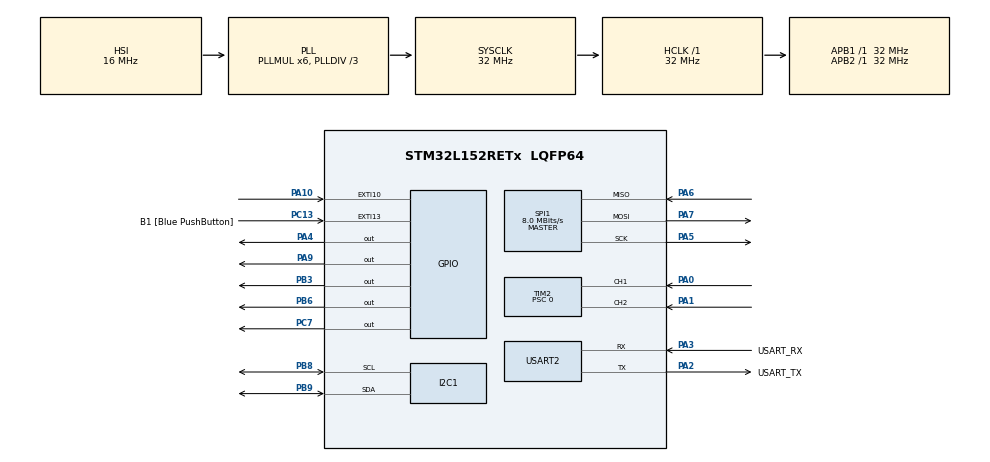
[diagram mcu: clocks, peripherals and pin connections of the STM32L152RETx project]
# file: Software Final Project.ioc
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Dma.Request0=SPI1_TX
Dma.SPI1_TX.0.Direction=DMA_MEMORY_TO_PERIPH
Dma.SPI1_TX.0.Instance=DMA1_Channel3
Dma.SPI1_TX.0.MemDataAlignment=DMA_MDATAALIGN_BYTE
Dma.SPI1_TX.0.MemInc=DMA_MINC_ENABLE
Dma.SPI1_TX.0.Mode=DMA_NORMAL
Dma.SPI1_TX.0.PeriphDataAlignment=DMA_PDATAALIGN_BYTE
Dma.SPI1_TX.0.PeriphInc=DMA_PINC_DISABLE
Dma.SPI1_TX.0.Priority=DMA_PRIORITY_HIGH
Mcu.Family=STM32L1
Mcu.Name=STM32L152RETx
Mcu.Package=LQFP64
NVIC.DMA1_Channel3_IRQn=true\:0\:0\:false\:false\:true\:false\:true\:true
NVIC.EXTI15_10_IRQn=true\:0\:0\:false\:false\:true\:true\:true\:true
NVIC.PriorityGroup=NVIC_PRIORITYGROUP_0
PA0-WKUP1.Signal=S_TIM2_CH1_ETR
PA1.Signal=S_TIM2_CH2
PA10.GPIO_ModeDefaultEXTI=GPIO_MODE_IT_FALLING
PA10.GPIO_PuPd=GPIO_PULLUP
PA10.Signal=GPXTI10
PA13.GPIO_Label=TMS
PA13.Mode=Serial_Wire
PA13.Signal=SYS_JTMS-SWDIO
PA14.GPIO_Label=TCK
PA14.Mode=Serial_Wire
PA14.Signal=SYS_JTCK-SWCLK
PA2.GPIO_Label=USART_TX
PA2.Mode=Asynchronous
PA2.Signal=USART2_TX
PA3.GPIO_Label=USART_RX
PA3.Mode=Asynchronous
PA3.Signal=USART2_RX
PA4.GPIO_Speed=GPIO_SPEED_FREQ_VERY_HIGH
PA4.Signal=GPIO_Output
PA5.Mode=Full_Duplex_Master
PA5.Signal=SPI1_SCK
PA6.Mode=Full_Duplex_Master
PA6.Signal=SPI1_MISO
PA7.Mode=Full_Duplex_Master
PA7.Signal=SPI1_MOSI
PA9.GPIO_Speed=GPIO_SPEED_FREQ_VERY_HIGH
PA9.Signal=GPIO_Output
PB3.Signal=GPIO_Output
PB6.GPIO_Speed=GPIO_SPEED_FREQ_VERY_HIGH
PB6.Signal=GPIO_Output
PB8.Mode=I2C
PB8.Signal=I2C1_SCL
PB9.Mode=I2C
PB9.Signal=I2C1_SDA
PC13-WKUP2.GPIO_Label=B1 [Blue PushButton]
PC13-WKUP2.Signal=GPXTI13
PC14-OSC32_IN.Mode=LSE-External-Oscillator
PC14-OSC32_IN.Signal=RCC_OSC32_IN
PC15-OSC32_OUT.Mode=LSE-External-Oscillator
PC15-OSC32_OUT.Signal=RCC_OSC32_OUT
PC7.GPIO_Speed=GPIO_SPEED_FREQ_VERY_HIGH
PC7.Signal=GPIO_Output
PH0-OSC_IN.Mode=HSE-External-Clock-Source
PH0-OSC_IN.Signal=RCC_OSC_IN
PH1-OSC_OUT.Signal=RCC_OSC_OUT
ProjectManager.HeapSize=0x200
ProjectManager.StackSize=0x400
ProjectManager.TargetToolchain=STM32CubeIDE
RCC.48MHZClocksFreq_Value=48000000
RCC.AHBFreq_Value=32000000
RCC.APB1Freq_Value=32000000
RCC.APB1TimFreq_Value=32000000
RCC.APB2Freq_Value=32000000
RCC.APB2TimFreq_Value=32000000
RCC.HCLKFreq_Value=32000000
RCC.HSE_VALUE=8000000
RCC.HSI_VALUE=16000000
RCC.MSI_VALUE=2097000
RCC.PLLDIV=RCC_PLL_DIV3
RCC.PLLMUL=RCC_PLL_MUL6
RCC.RTCClockSelectionVirtual=RCC_RTCCLKSOURCE_LSE
RCC.SYSCLKFreq_VALUE=32000000
RCC.SYSCLKSource=RCC_SYSCLKSOURCE_PLLCLK
RCC.USBOutput=48000000
RCC.VCOOutputFreq_Value=96000000
SH.S_TIM2_CH1_ETR.0=TIM2_CH1,Encoder_Interface
SH.S_TIM2_CH2.0=TIM2_CH2,Encoder_Interface
SPI1.BaudRatePrescaler=SPI_BAUDRATEPRESCALER_4
SPI1.CalculateBaudRate=8.0 MBits/s
SPI1.DataSize=SPI_DATASIZE_8BIT
SPI1.Direction=SPI_DIRECTION_2LINES
SPI1.Mode=SPI_MODE_MASTER
SPI1.VirtualType=VM_MASTER
TIM2.AutoReloadPreload=TIM_AUTORELOAD_PRELOAD_DISABLE
TIM2.EncoderMode=TIM_ENCODERMODE_TI12
TIM2.IC1Filter=4
TIM2.IC2Filter=4
TIM2.Period=19999
TIM2.Prescaler=0
USART2.VirtualMode=VM_ASYNC
board=NUCLEO-L152RE

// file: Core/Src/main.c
/* USER CODE BEGIN Header */
/**
  ******************************************************************************
  * @file           : main.c
  * @brief          : Main program body
  ******************************************************************************
  */
/* USER CODE END Header */
#include "main.h"

/* USER CODE BEGIN Includes */
#include "GFX.h"
#include "screen.h"
#include "TSC2007.h"
#include "encoder.h"
/* USER CODE END Includes */

I2C_HandleTypeDef hi2c1;

SPI_HandleTypeDef hspi1;
DMA_HandleTypeDef hdma_spi1_tx;

TIM_HandleTypeDef htim2;

UART_HandleTypeDef huart2;

void SystemClock_Config(void);
static void MX_GPIO_Init(void);
static void MX_DMA_Init(void);
static void MX_I2C1_Init(void);
static void MX_SPI1_Init(void);
static void MX_USART2_UART_Init(void);
static void MX_TIM2_Init(void);

/* USER CODE BEGIN 0 */
//uint16_t x;
//uint16_t y;
//uint16_t z1;
//uint16_t z2;
/* USER CODE END 0 */

int main(void)
{

  /* MCU Configuration--------------------------------------------------------*/

  /* Reset of all peripherals, Initializes the Flash interface and the Systick. */
  HAL_Init();

  /* Configure the system clock */
  SystemClock_Config();

  /* Initialize all configured peripherals */
  MX_GPIO_Init();
  MX_DMA_Init();
  MX_I2C1_Init();
  MX_SPI1_Init();
  MX_USART2_UART_Init();
  MX_TIM2_Init();
  /* USER CODE BEGIN 2 */
  TSC2007_Init();

  HAL_TIM_Encoder_Start(&htim2, TIM_CHANNEL_ALL);

  GFX_t display;
  GFX_Init(&display);

  Screen currPage = HOME_SCREEN;
  Frame currFrame = FIRST_FRAME;

  DrawScreen(&display, currPage, currFrame);

  /* USER CODE END 2 */

  /* Infinite loop */
  while (1)
  {

    /* USER CODE BEGIN 3 */
    if (TSC2007_IsTouched()) {
    	TSC2007_Point_t point = TSC2007_GetPoint();
    	CheckScreenPress(&display, &currPage, point, currFrame);
    }

    if (currPage == VISUALIZATION_SCREEN) {
    	DrawFrame(&display, currFrame);
//    	HAL_Delay(50);
    }

    // Read encoder
    measureEncoder(&currFrame);

  }
  /* USER CODE END 3 */
}

void SystemClock_Config(void)
{
  RCC_OscInitTypeDef RCC_OscInitStruct = {0};
  RCC_ClkInitTypeDef RCC_ClkInitStruct = {0};

  /** Configure the main internal regulator output voltage
  */
  __HAL_PWR_VOLTAGESCALING_CONFIG(PWR_REGULATOR_VOLTAGE_SCALE1);

  /** Initializes the RCC Oscillators according to the specified parameters
  * in the RCC_OscInitTypeDef structure.
  */
  RCC_OscInitStruct.OscillatorType = RCC_OSCILLATORTYPE_HSI;
  RCC_OscInitStruct.HSIState = RCC_HSI_ON;
  RCC_OscInitStruct.HSICalibrationValue = RCC_HSICALIBRATION_DEFAULT;
  RCC_OscInitStruct.PLL.PLLState = RCC_PLL_ON;
  RCC_OscInitStruct.PLL.PLLSource = RCC_PLLSOURCE_HSI;
  RCC_OscInitStruct.PLL.PLLMUL = RCC_PLL_MUL6;
  RCC_OscInitStruct.PLL.PLLDIV = RCC_PLL_DIV3;
  if (HAL_RCC_OscConfig(&RCC_OscInitStruct) != HAL_OK)
  {
    Error_Handler();
  }

  /** Initializes the CPU, AHB and APB buses clocks
  */
  RCC_ClkInitStruct.ClockType = RCC_CLOCKTYPE_HCLK|RCC_CLOCKTYPE_SYSCLK
                              |RCC_CLOCKTYPE_PCLK1|RCC_CLOCKTYPE_PCLK2;
  RCC_ClkInitStruct.SYSCLKSource = RCC_SYSCLKSOURCE_PLLCLK;
  RCC_ClkInitStruct.AHBCLKDivider = RCC_SYSCLK_DIV1;
  RCC_ClkInitStruct.APB1CLKDivider = RCC_HCLK_DIV1;
  RCC_ClkInitStruct.APB2CLKDivider = RCC_HCLK_DIV1;

  if (HAL_RCC_ClockConfig(&RCC_ClkInitStruct, FLASH_LATENCY_1) != HAL_OK)
  {
    Error_Handler();
  }
}

static void MX_I2C1_Init(void)
{

  hi2c1.Instance = I2C1;
  hi2c1.Init.ClockSpeed = 100000;
  hi2c1.Init.DutyCycle = I2C_DUTYCYCLE_2;
  hi2c1.Init.OwnAddress1 = 0;
  hi2c1.Init.AddressingMode = I2C_ADDRESSINGMODE_7BIT;
  hi2c1.Init.DualAddressMode = I2C_DUALADDRESS_DISABLE;
  hi2c1.Init.OwnAddress2 = 0;
  hi2c1.Init.GeneralCallMode = I2C_GENERALCALL_DISABLE;
  hi2c1.Init.NoStretchMode = I2C_NOSTRETCH_DISABLE;
  if (HAL_I2C_Init(&hi2c1) != HAL_OK)
  {
    Error_Handler();
  }

}

static void MX_SPI1_Init(void)
{

  /* SPI1 parameter configuration*/
  hspi1.Instance = SPI1;
  hspi1.Init.Mode = SPI_MODE_MASTER;
  hspi1.Init.Direction = SPI_DIRECTION_2LINES;
  hspi1.Init.DataSize = SPI_DATASIZE_8BIT;
  hspi1.Init.CLKPolarity = SPI_POLARITY_LOW;
  hspi1.Init.CLKPhase = SPI_PHASE_1EDGE;
  hspi1.Init.NSS = SPI_NSS_SOFT;
  hspi1.Init.BaudRatePrescaler = SPI_BAUDRATEPRESCALER_4;
  hspi1.Init.FirstBit = SPI_FIRSTBIT_MSB;
  hspi1.Init.TIMode = SPI_TIMODE_DISABLE;
  hspi1.Init.CRCCalculation = SPI_CRCCALCULATION_DISABLE;
  hspi1.Init.CRCPolynomial = 10;
  if (HAL_SPI_Init(&hspi1) != HAL_OK)
  {
    Error_Handler();
  }

}

static void MX_TIM2_Init(void)
{

  TIM_Encoder_InitTypeDef sConfig = {0};
  TIM_MasterConfigTypeDef sMasterConfig = {0};

  htim2.Instance = TIM2;
  htim2.Init.Prescaler = 0;
  htim2.Init.CounterMode = TIM_COUNTERMODE_UP;
  htim2.Init.Period = 19999;
  htim2.Init.ClockDivision = TIM_CLOCKDIVISION_DIV1;
  htim2.Init.AutoReloadPreload = TIM_AUTORELOAD_PRELOAD_DISABLE;
  sConfig.EncoderMode = TIM_ENCODERMODE_TI12;
  sConfig.IC1Polarity = TIM_ICPOLARITY_RISING;
  sConfig.IC1Selection = TIM_ICSELECTION_DIRECTTI;
  sConfig.IC1Prescaler = TIM_ICPSC_DIV1;
  sConfig.IC1Filter = 4;
  sConfig.IC2Polarity = TIM_ICPOLARITY_RISING;
  sConfig.IC2Selection = TIM_ICSELECTION_DIRECTTI;
  sConfig.IC2Prescaler = TIM_ICPSC_DIV1;
  sConfig.IC2Filter = 4;
  if (HAL_TIM_Encoder_Init(&htim2, &sConfig) != HAL_OK)
  {
    Error_Handler();
  }
  sMasterConfig.MasterOutputTrigger = TIM_TRGO_RESET;
  sMasterConfig.MasterSlaveMode = TIM_MASTERSLAVEMODE_DISABLE;
  if (HAL_TIMEx_MasterConfigSynchronization(&htim2, &sMasterConfig) != HAL_OK)
  {
    Error_Handler();
  }

}

static void MX_USART2_UART_Init(void)
{

  huart2.Instance = USART2;
  huart2.Init.BaudRate = 115200;
  huart2.Init.WordLength = UART_WORDLENGTH_8B;
  huart2.Init.StopBits = UART_STOPBITS_1;
  huart2.Init.Parity = UART_PARITY_NONE;
  huart2.Init.Mode = UART_MODE_TX_RX;
  huart2.Init.HwFlowCtl = UART_HWCONTROL_NONE;
  huart2.Init.OverSampling = UART_OVERSAMPLING_16;
  if (HAL_UART_Init(&huart2) != HAL_OK)
  {
    Error_Handler();
  }

}

static void MX_DMA_Init(void)
{

  /* DMA controller clock enable */
  __HAL_RCC_DMA1_CLK_ENABLE();

  /* DMA interrupt init */
  /* DMA1_Channel3_IRQn interrupt configuration */
  HAL_NVIC_SetPriority(DMA1_Channel3_IRQn, 0, 0);
  HAL_NVIC_EnableIRQ(DMA1_Channel3_IRQn);

}

static void MX_GPIO_Init(void)
{
  GPIO_InitTypeDef GPIO_InitStruct = {0};

  /* GPIO Ports Clock Enable */
  __HAL_RCC_GPIOC_CLK_ENABLE();
  __HAL_RCC_GPIOH_CLK_ENABLE();
  __HAL_RCC_GPIOA_CLK_ENABLE();
  __HAL_RCC_GPIOB_CLK_ENABLE();

  /*Configure GPIO pin Output Level */
  HAL_GPIO_WritePin(GPIOA, GPIO_PIN_4|GPIO_PIN_9, GPIO_PIN_RESET);

  /*Configure GPIO pin Output Level */
  HAL_GPIO_WritePin(GPIOC, GPIO_PIN_7, GPIO_PIN_RESET);

  /*Configure GPIO pin Output Level */
  HAL_GPIO_WritePin(GPIOB, GPIO_PIN_3|GPIO_PIN_6, GPIO_PIN_RESET);

  /*Configure GPIO pin : B1_Pin */
  GPIO_InitStruct.Pin = B1_Pin;
  GPIO_InitStruct.Mode = GPIO_MODE_IT_RISING;
  GPIO_InitStruct.Pull = GPIO_NOPULL;
  HAL_GPIO_Init(B1_GPIO_Port, &GPIO_InitStruct);

  /*Configure GPIO pins : PA4 PA9 */
  GPIO_InitStruct.Pin = GPIO_PIN_4|GPIO_PIN_9;
  GPIO_InitStruct.Mode = GPIO_MODE_OUTPUT_PP;
  GPIO_InitStruct.Pull = GPIO_NOPULL;
  GPIO_InitStruct.Speed = GPIO_SPEED_FREQ_VERY_HIGH;
  HAL_GPIO_Init(GPIOA, &GPIO_InitStruct);

  /*Configure GPIO pin : PC7 */
  GPIO_InitStruct.Pin = GPIO_PIN_7;
  GPIO_InitStruct.Mode = GPIO_MODE_OUTPUT_PP;
  GPIO_InitStruct.Pull = GPIO_NOPULL;
  GPIO_InitStruct.Speed = GPIO_SPEED_FREQ_VERY_HIGH;
  HAL_GPIO_Init(GPIOC, &GPIO_InitStruct);

  /*Configure GPIO pin : PA10 */
  GPIO_InitStruct.Pin = GPIO_PIN_10;
  GPIO_InitStruct.Mode = GPIO_MODE_IT_FALLING;
  GPIO_InitStruct.Pull = GPIO_PULLUP;
  HAL_GPIO_Init(GPIOA, &GPIO_InitStruct);

  /*Configure GPIO pin : PB3 */
  GPIO_InitStruct.Pin = GPIO_PIN_3;
  GPIO_InitStruct.Mode = GPIO_MODE_OUTPUT_PP;
  GPIO_InitStruct.Pull = GPIO_NOPULL;
  GPIO_InitStruct.Speed = GPIO_SPEED_FREQ_LOW;
  HAL_GPIO_Init(GPIOB, &GPIO_InitStruct);

  /*Configure GPIO pin : PB6 */
  GPIO_InitStruct.Pin = GPIO_PIN_6;
  GPIO_InitStruct.Mode = GPIO_MODE_OUTPUT_PP;
  GPIO_InitStruct.Pull = GPIO_NOPULL;
  GPIO_InitStruct.Speed = GPIO_SPEED_FREQ_VERY_HIGH;
  HAL_GPIO_Init(GPIOB, &GPIO_InitStruct);

  /* EXTI interrupt init*/
  HAL_NVIC_SetPriority(EXTI15_10_IRQn, 0, 0);
  HAL_NVIC_EnableIRQ(EXTI15_10_IRQn);

}

void Error_Handler(void)
{
  __disable_irq();
  while (1)
  {
  }
}
